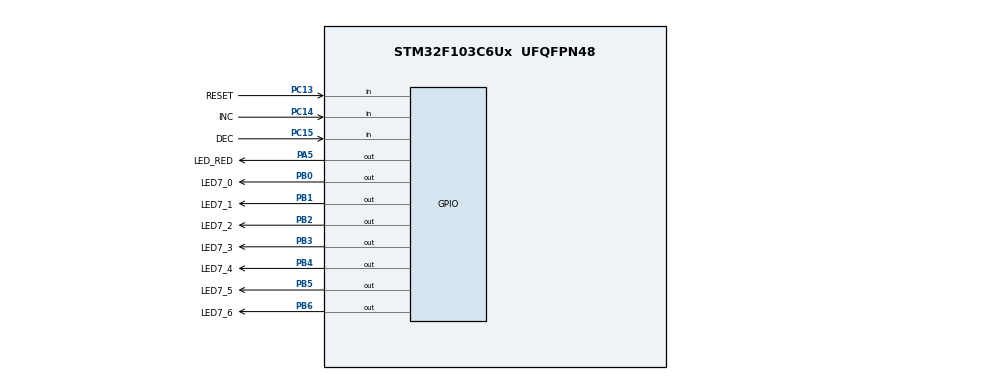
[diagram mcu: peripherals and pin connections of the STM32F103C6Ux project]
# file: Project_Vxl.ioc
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Mcu.Family=STM32F1
Mcu.Name=STM32F103C6Ux
Mcu.Package=UFQFPN48
NVIC.PriorityGroup=NVIC_PRIORITYGROUP_4
NVIC.TIM2_IRQn=true\:0\:0\:false\:false\:true\:true\:true
PA5.GPIO_Label=LED_RED
PA5.Signal=GPIO_Output
PB0.GPIO_Label=LED7_0
PB0.Signal=GPIO_Output
PB1.GPIO_Label=LED7_1
PB1.Signal=GPIO_Output
PB2.GPIO_Label=LED7_2
PB2.Signal=GPIO_Output
PB3.GPIO_Label=LED7_3
PB3.Signal=GPIO_Output
PB4.GPIO_Label=LED7_4
PB4.Signal=GPIO_Output
PB5.GPIO_Label=LED7_5
PB5.Signal=GPIO_Output
PB6.GPIO_Label=LED7_6
PB6.Signal=GPIO_Output
PC13-TAMPER-RTC.GPIO_Label=RESET
PC13-TAMPER-RTC.GPIO_PuPd=GPIO_PULLUP
PC13-TAMPER-RTC.Signal=GPIO_Input
PC14-OSC32_IN.GPIO_Label=INC
PC14-OSC32_IN.GPIO_PuPd=GPIO_PULLUP
PC14-OSC32_IN.Signal=GPIO_Input
PC15-OSC32_OUT.GPIO_Label=DEC
PC15-OSC32_OUT.GPIO_PuPd=GPIO_PULLUP
PC15-OSC32_OUT.Signal=GPIO_Input
ProjectManager.HeapSize=0x200
ProjectManager.StackSize=0x400
ProjectManager.TargetToolchain=STM32CubeIDE
RCC.APB1Freq_Value=8000000
RCC.APB2Freq_Value=8000000
TIM2.Period=9
TIM2.Prescaler=7999
VP_SYS_VS_ND.Mode=No_Debug
VP_TIM2_VS_ClockSourceINT.Mode=Internal
board=custom

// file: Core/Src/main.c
/* USER CODE BEGIN Header */
/**
  ******************************************************************************
  * @file           : main.c
  * @brief          : Main program body
  ******************************************************************************
  * @attention
  *
  * <h2><center>&copy; Copyright (c) 2022 STMicroelectronics.
  * All rights reserved.</center></h2>
  *
  * This software component is licensed by ST under BSD 3-Clause license,
  * the "License"; You may not use this file except in compliance with the
  * License. You may obtain a copy of the License at:
  *                        opensource.org/licenses/BSD-3-Clause
  *
  ******************************************************************************
  */
/* USER CODE END Header */
#include "main.h"

/* USER CODE BEGIN Includes */
#include "software_timer.h"
#include "display7SEG.h"
#include "button.h"
#include "global.h"
#include "fsm.h"
/* USER CODE END Includes */

TIM_HandleTypeDef htim2;

void SystemClock_Config(void);
static void MX_GPIO_Init(void);
static void MX_TIM2_Init(void);

/* USER CODE BEGIN 0 */
void HAL_TIM_PeriodElapsedCallback(TIM_HandleTypeDef *htim) {
	timerRun();
	getKeyInput();
}
/* USER CODE END 0 */

int main(void)
{

  /* MCU Configuration--------------------------------------------------------*/

  /* Reset of all peripherals, Initializes the Flash interface and the Systick. */
  HAL_Init();

  /* Configure the system clock */
  SystemClock_Config();

  /* Initialize all configured peripherals */
  MX_GPIO_Init();
  MX_TIM2_Init();
  /* USER CODE BEGIN 2 */
  HAL_TIM_Base_Start_IT(&htim2);
  /* USER CODE END 2 */

  /* Infinite loop */
  /* USER CODE BEGIN WHILE */
  setTimer1(100);
  setTimer2(300);
  while (1)
  {
	  if (timer1_flag==1) {
		  HAL_GPIO_TogglePin(LED_RED_GPIO_Port, LED_RED_Pin);
		  setTimer1(100);
	  }
	  fsm_simple_button_run();
    /* USER CODE END WHILE */

  }
}

void SystemClock_Config(void)
{
  RCC_OscInitTypeDef RCC_OscInitStruct = {0};
  RCC_ClkInitTypeDef RCC_ClkInitStruct = {0};

  /** Initializes the RCC Oscillators according to the specified parameters
  * in the RCC_OscInitTypeDef structure.
  */
  RCC_OscInitStruct.OscillatorType = RCC_OSCILLATORTYPE_HSI;
  RCC_OscInitStruct.HSIState = RCC_HSI_ON;
  RCC_OscInitStruct.HSICalibrationValue = RCC_HSICALIBRATION_DEFAULT;
  RCC_OscInitStruct.PLL.PLLState = RCC_PLL_NONE;
  if (HAL_RCC_OscConfig(&RCC_OscInitStruct) != HAL_OK)
  {
    Error_Handler();
  }
  /** Initializes the CPU, AHB and APB buses clocks
  */
  RCC_ClkInitStruct.ClockType = RCC_CLOCKTYPE_HCLK|RCC_CLOCKTYPE_SYSCLK
                              |RCC_CLOCKTYPE_PCLK1|RCC_CLOCKTYPE_PCLK2;
  RCC_ClkInitStruct.SYSCLKSource = RCC_SYSCLKSOURCE_HSI;
  RCC_ClkInitStruct.AHBCLKDivider = RCC_SYSCLK_DIV1;
  RCC_ClkInitStruct.APB1CLKDivider = RCC_HCLK_DIV1;
  RCC_ClkInitStruct.APB2CLKDivider = RCC_HCLK_DIV1;

  if (HAL_RCC_ClockConfig(&RCC_ClkInitStruct, FLASH_LATENCY_0) != HAL_OK)
  {
    Error_Handler();
  }
}

static void MX_TIM2_Init(void)
{

  TIM_ClockConfigTypeDef sClockSourceConfig = {0};
  TIM_MasterConfigTypeDef sMasterConfig = {0};

  htim2.Instance = TIM2;
  htim2.Init.Prescaler = 7999;
  htim2.Init.CounterMode = TIM_COUNTERMODE_UP;
  htim2.Init.Period = 9;
  htim2.Init.ClockDivision = TIM_CLOCKDIVISION_DIV1;
  htim2.Init.AutoReloadPreload = TIM_AUTORELOAD_PRELOAD_DISABLE;
  if (HAL_TIM_Base_Init(&htim2) != HAL_OK)
  {
    Error_Handler();
  }
  sClockSourceConfig.ClockSource = TIM_CLOCKSOURCE_INTERNAL;
  if (HAL_TIM_ConfigClockSource(&htim2, &sClockSourceConfig) != HAL_OK)
  {
    Error_Handler();
  }
  sMasterConfig.MasterOutputTrigger = TIM_TRGO_RESET;
  sMasterConfig.MasterSlaveMode = TIM_MASTERSLAVEMODE_DISABLE;
  if (HAL_TIMEx_MasterConfigSynchronization(&htim2, &sMasterConfig) != HAL_OK)
  {
    Error_Handler();
  }

}

static void MX_GPIO_Init(void)
{
  GPIO_InitTypeDef GPIO_InitStruct = {0};

  /* GPIO Ports Clock Enable */
  __HAL_RCC_GPIOC_CLK_ENABLE();
  __HAL_RCC_GPIOA_CLK_ENABLE();
  __HAL_RCC_GPIOB_CLK_ENABLE();

  /*Configure GPIO pin Output Level */
  HAL_GPIO_WritePin(LED_RED_GPIO_Port, LED_RED_Pin, GPIO_PIN_RESET);

  /*Configure GPIO pin Output Level */
  HAL_GPIO_WritePin(GPIOB, LED7_0_Pin|LED7_1_Pin|LED7_2_Pin|LED7_3_Pin
                          |LED7_4_Pin|LED7_5_Pin|LED7_6_Pin, GPIO_PIN_RESET);

  /*Configure GPIO pins : RESET_Pin INC_Pin DEC_Pin */
  GPIO_InitStruct.Pin = RESET_Pin|INC_Pin|DEC_Pin;
  GPIO_InitStruct.Mode = GPIO_MODE_INPUT;
  GPIO_InitStruct.Pull = GPIO_PULLUP;
  HAL_GPIO_Init(GPIOC, &GPIO_InitStruct);

  /*Configure GPIO pin : LED_RED_Pin */
  GPIO_InitStruct.Pin = LED_RED_Pin;
  GPIO_InitStruct.Mode = GPIO_MODE_OUTPUT_PP;
  GPIO_InitStruct.Pull = GPIO_NOPULL;
  GPIO_InitStruct.Speed = GPIO_SPEED_FREQ_LOW;
  HAL_GPIO_Init(LED_RED_GPIO_Port, &GPIO_InitStruct);

  /*Configure GPIO pins : LED7_0_Pin LED7_1_Pin LED7_2_Pin LED7_3_Pin
                           LED7_4_Pin LED7_5_Pin LED7_6_Pin */
  GPIO_InitStruct.Pin = LED7_0_Pin|LED7_1_Pin|LED7_2_Pin|LED7_3_Pin
                          |LED7_4_Pin|LED7_5_Pin|LED7_6_Pin;
  GPIO_InitStruct.Mode = GPIO_MODE_OUTPUT_PP;
  GPIO_InitStruct.Pull = GPIO_NOPULL;
  GPIO_InitStruct.Speed = GPIO_SPEED_FREQ_LOW;
  HAL_GPIO_Init(GPIOB, &GPIO_InitStruct);

}

void Error_Handler(void)
{
  __disable_irq();
  while (1)
  {
  }
}

/************************ (C) COPYRIGHT STMicroelectronics *****END OF FILE****/
